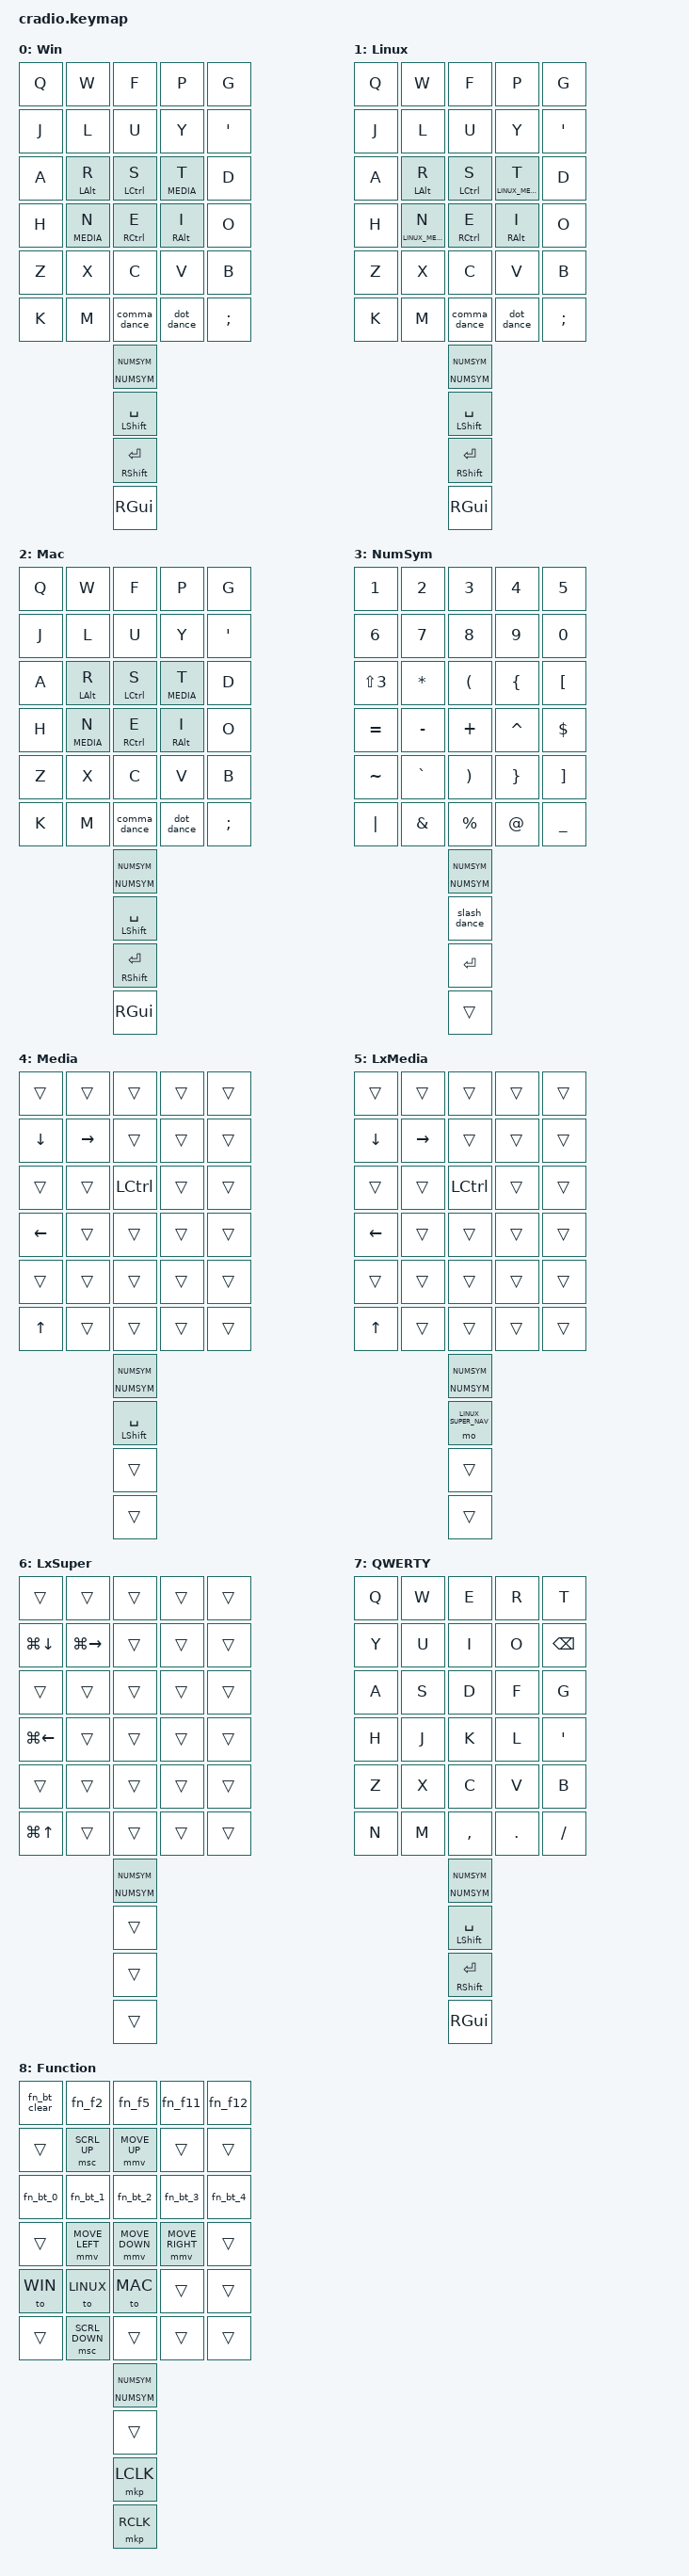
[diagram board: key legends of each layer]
/*
 * Copyright (c) 2020 The ZMK Contributors
 *
 * SPDX-License-Identifier: MIT
 */

#include <behaviors.dtsi>
#include <dt-bindings/zmk/bt.h>
#include <dt-bindings/zmk/keys.h>
#include <dt-bindings/zmk/pointing.h>

#define WIN              0
#define LINUX            1
#define MAC              2
#define NUMSYM           3
#define MEDIA            4
#define LINUX_MEDIA      5
#define LINUX_SUPER_NAV  6
#define QWERTY           7
#define FN               8

/ {
    combos {
        compatible = "zmk,combos";

        /*
         * Ferris Sweep position map:
         *
         *  0  1  2  3  4       5  6  7  8  9
         * 10 11 12 13 14      15 16 17 18 19
         * 20 21 22 23 24      25 26 27 28 29
         *          30 31      32 33
         */

        /*
         * Q + W = Escape
         */
        escape_combo {
            timeout-ms = <35>;
            require-prior-idle-ms = <80>;
            key-positions = <0 1>;
            bindings = <&kp ESC>;
            layers = <WIN LINUX MAC>;
        };

        /*
         * A + R = Tab
         */
        tab_combo {
            timeout-ms = <35>;
            require-prior-idle-ms = <80>;
            key-positions = <10 11>;
            bindings = <&kp TAB>;
            layers = <WIN LINUX MAC>;
        };

        /*
         * FN + Z + slash enters the bootloader.
         *
         * This normally affects the central/left half.
         */
        bootloader_combo {
            timeout-ms = <50>;
            key-positions = <20 29>;
            bindings = <&bootloader>;
            layers = <FN>;
        };

        /*
         * Windows and Linux editing combos:
         *
         * Z + X = Undo
         * X + C = Copy
         * C + V = Paste
         * V + B = Redo
         */
        ctrl_undo {
            timeout-ms = <40>;
            key-positions = <20 21>;
            bindings = <&kp LC(Z)>;
            layers = <WIN LINUX QWERTY>;
        };

        ctrl_copy {
            timeout-ms = <40>;
            key-positions = <21 22>;
            bindings = <&kp LC(C)>;
            layers = <WIN LINUX QWERTY>;
        };

        ctrl_paste {
            timeout-ms = <40>;
            key-positions = <22 23>;
            bindings = <&kp LC(V)>;
            layers = <WIN LINUX QWERTY>;
        };

        ctrl_redo {
            timeout-ms = <40>;
            key-positions = <23 24>;
            bindings = <&kp LC(LS(Z))>;
            layers = <WIN LINUX QWERTY>;
        };

        /*
         * macOS editing combos.
         */
        mac_undo {
            timeout-ms = <40>;
            key-positions = <20 21>;
            bindings = <&kp LG(Z)>;
            layers = <MAC>;
        };

        mac_copy {
            timeout-ms = <40>;
            key-positions = <21 22>;
            bindings = <&kp LG(C)>;
            layers = <MAC>;
        };

        mac_paste {
            timeout-ms = <40>;
            key-positions = <22 23>;
            bindings = <&kp LG(V)>;
            layers = <MAC>;
        };

        mac_redo {
            timeout-ms = <40>;
            key-positions = <23 24>;
            bindings = <&kp LG(LS(Z))>;
            layers = <MAC>;
        };

        /*
         * Y + quote = Backspace
         */
        backspace_combo {
            timeout-ms = <45>;
            key-positions = <8 9>;
            bindings = <&kp BSPC>;
            layers = <WIN LINUX MAC>;
        };

        /*
         * O + quote = Delete
         */
        delete_combo {
            timeout-ms = <45>;
            key-positions = <9 19>;
            bindings = <&kp DEL>;
            layers = <WIN LINUX MAC>;
        };

        /*
         * Both outer thumbs toggle the Function layer.
         *
         * Press once  = FN on
         * Press again = FN off
         */
        fn_toggle_combo {
            timeout-ms = <50>;
            require-prior-idle-ms = <80>;
            key-positions = <30 33>;
            bindings = <&tog FN>;
            layers = <
                WIN
                LINUX
                MAC
                NUMSYM
                MEDIA
                LINUX_MEDIA
                LINUX_SUPER_NAV
                QWERTY
                FN
            >;
        };

        /*
         * Colemak arrow combos:
         *
         * K + M = Up
         * L + U = Right
         * H + N = Left
         * J + L = Down
         */
        arrow_up {
            timeout-ms = <40>;
            key-positions = <25 26>;
            bindings = <&kp UP>;
            layers = <WIN LINUX MAC>;
        };

        arrow_right {
            timeout-ms = <40>;
            key-positions = <6 7>;
            bindings = <&kp RIGHT>;
            layers = <WIN LINUX MAC>;
        };

        arrow_left {
            timeout-ms = <40>;
            key-positions = <15 16>;
            bindings = <&kp LEFT>;
            layers = <WIN LINUX MAC>;
        };

        arrow_down {
            timeout-ms = <40>;
            key-positions = <5 6>;
            bindings = <&kp DOWN>;
            layers = <WIN LINUX MAC>;
        };

    };


    macros {
        /*
         * FN actions which automatically leave the toggled FN layer.
         */
        fn_bt_clear: fn_bt_clear {
            compatible = "zmk,behavior-macro";
            #binding-cells = <0>;
            bindings = <&bt BT_CLR>, <&tog FN>;
        };

        fn_bt_0: fn_bt_0 {
            compatible = "zmk,behavior-macro";
            #binding-cells = <0>;
            bindings = <&bt BT_SEL 0>, <&tog FN>;
        };

        fn_bt_1: fn_bt_1 {
            compatible = "zmk,behavior-macro";
            #binding-cells = <0>;
            bindings = <&bt BT_SEL 1>, <&tog FN>;
        };

        fn_bt_2: fn_bt_2 {
            compatible = "zmk,behavior-macro";
            #binding-cells = <0>;
            bindings = <&bt BT_SEL 2>, <&tog FN>;
        };

        fn_bt_3: fn_bt_3 {
            compatible = "zmk,behavior-macro";
            #binding-cells = <0>;
            bindings = <&bt BT_SEL 3>, <&tog FN>;
        };

        fn_bt_4: fn_bt_4 {
            compatible = "zmk,behavior-macro";
            #binding-cells = <0>;
            bindings = <&bt BT_SEL 4>, <&tog FN>;
        };

        fn_f2: fn_f2 {
            compatible = "zmk,behavior-macro";
            #binding-cells = <0>;
            bindings = <&kp F2>, <&tog FN>;
        };

        fn_f5: fn_f5 {
            compatible = "zmk,behavior-macro";
            #binding-cells = <0>;
            bindings = <&kp F5>, <&tog FN>;
        };

        fn_f11: fn_f11 {
            compatible = "zmk,behavior-macro";
            #binding-cells = <0>;
            bindings = <&kp F11>, <&tog FN>;
        };

        fn_f12: fn_f12 {
            compatible = "zmk,behavior-macro";
            #binding-cells = <0>;
            bindings = <&kp F12>, <&tog FN>;
        };
    };

    behaviors {
        /*
         * Space/Shift thumb behavior.
         */
        thumb_mt: thumb_mod_tap {
            compatible = "zmk,behavior-hold-tap";
            #binding-cells = <2>;

            flavor = "balanced";
            tapping-term-ms = <200>;

            bindings = <&kp>, <&kp>;
        };

        /*
         * Generic layer-tap behavior retained for possible future use.
         *
         * First argument  = layer activated while held
         * Second argument = key sent when tapped
         */
        num_lt: num_layer_tap {
            compatible = "zmk,behavior-hold-tap";
            #binding-cells = <2>;

            flavor = "balanced";
            tapping-term-ms = <200>;

            bindings = <&mo>, <&kp>;
        };


        /*
         * Left outer thumb:
         *
         * Tap  = toggle NumSym
         * Hold = momentary NumSym
         */
        numsym_toggle_hold: numsym_toggle_hold {
            compatible = "zmk,behavior-hold-tap";
            #binding-cells = <2>;

            flavor = "balanced";
            tapping-term-ms = <200>;
            quick-tap-ms = <150>;

            bindings = <&mo>, <&tog>;
        };

        /*
         * Single tap = /
         * Double tap = \
         */
        slash_dance: slash_dance {
            compatible = "zmk,behavior-tap-dance";
            #binding-cells = <0>;

            tapping-term-ms = <175>;
            bindings = <&kp FSLH>, <&kp BSLH>;
        };

        /*
         * Comma:
         * tap        = ,
         * double tap = \
         * hold       = ?
         */
        comma_hold_tap: comma_hold_tap {
            compatible = "zmk,behavior-hold-tap";
            #binding-cells = <2>;

            flavor = "tap-preferred";
            tapping-term-ms = <200>;
            quick-tap-ms = <150>;
            require-prior-idle-ms = <100>;

            bindings = <&kp>, <&kp>;
        };

        comma_dance: comma_dance {
            compatible = "zmk,behavior-tap-dance";
            #binding-cells = <0>;

            tapping-term-ms = <175>;
            bindings = <&comma_hold_tap QMARK COMMA>, <&kp BSLH>;
        };

        /*
         * Period:
         * tap        = .
         * double tap = /
         * hold       = !
         */
        dot_hold_tap: dot_hold_tap {
            compatible = "zmk,behavior-hold-tap";
            #binding-cells = <2>;

            flavor = "tap-preferred";
            tapping-term-ms = <200>;
            quick-tap-ms = <150>;
            require-prior-idle-ms = <100>;

            bindings = <&kp>, <&kp>;
        };

        dot_dance: dot_dance {
            compatible = "zmk,behavior-tap-dance";
            #binding-cells = <0>;

            tapping-term-ms = <175>;
            bindings = <&dot_hold_tap EXCL DOT>, <&kp FSLH>;
        };
    };

    keymap {
        compatible = "zmk,keymap";

        /*
         * Colemak-DH-like Windows layer:
         *
         * Q W F P G    J L U Y '
         * A R S T D    H N E I O
         * Z X C V B    K M , . ;
         *
         * Thumbs:
         * NumSym toggle/hold  Space/Shift    Enter/Shift  GUI
         */
        win_layer {
            display-name = "Win";

            bindings = <
&kp Q         &kp W         &kp F          &kp P           &kp G
&kp J         &kp L         &kp U          &kp Y           &kp SQT

&kp A         &mt LALT R    &mt LCTRL S    &lt MEDIA T     &kp D
&kp H         &lt MEDIA N   &mt RCTRL E    &mt RALT I      &kp O

&kp Z         &kp X         &kp C          &kp V           &kp B
&kp K         &kp M         &comma_dance   &dot_dance      &kp SEMI

                              &numsym_toggle_hold NUMSYM NUMSYM
                              &thumb_mt LSHIFT SPACE
                              &thumb_mt RSHIFT RET
                              &kp RGUI
            >;
        };

        /*
         * Linux layer.
         */
        linux_layer {
            display-name = "Linux";

            bindings = <
&kp Q         &kp W         &kp F          &kp P                 &kp G
&kp J         &kp L         &kp U          &kp Y                 &kp SQT

&kp A         &mt LALT R    &mt LCTRL S    &lt LINUX_MEDIA T    &kp D
&kp H         &lt LINUX_MEDIA N
              &mt RCTRL E   &mt RALT I     &kp O

&kp Z         &kp X         &kp C          &kp V                 &kp B
&kp K         &kp M         &comma_dance   &dot_dance            &kp SEMI

                              &numsym_toggle_hold NUMSYM NUMSYM
                              &thumb_mt LSHIFT SPACE
                              &thumb_mt RSHIFT RET
                              &kp RGUI
            >;
        };

        /*
         * macOS layer.
         */
        mac_layer {
            display-name = "Mac";

            bindings = <
&kp Q         &kp W         &kp F          &kp P           &kp G
&kp J         &kp L         &kp U          &kp Y           &kp SQT

&kp A         &mt LALT R    &mt LCTRL S    &lt MEDIA T     &kp D
&kp H         &lt MEDIA N   &mt RCTRL E    &mt RALT I      &kp O

&kp Z         &kp X         &kp C          &kp V           &kp B
&kp K         &kp M         &comma_dance   &dot_dance      &kp SEMI

                              &numsym_toggle_hold NUMSYM NUMSYM
                              &thumb_mt LSHIFT SPACE
                              &thumb_mt RSHIFT RET
                              &kp RGUI
            >;
        };

        /*
         * NumSym is held with the right inner thumb.
         * High-frequency brackets are therefore grouped on the left hand:
         *
         * 1 2 3 4 5    6 7 8 9 0
         * # * ( { [    = - + ^ $
         * ~ ` ) } ]    | & % @ _
         *
         * Left-hand vertical bracket pairs:
         * ( above ), { above }, [ above ]
         *
         * Base-layer semicolon gives colon when shifted.
         * Base-layer quote gives double quote when shifted.
         */
        numsym_layer {
            display-name = "NumSym";

            bindings = <
&kp N1                  &kp N2          &kp N3
&kp N4                  &kp N5
&kp N6                  &kp N7          &kp N8
&kp N9                  &kp N0

&kp LS(NUMBER_3)        &kp ASTERISK    &kp LPAR
&kp LBRC                &kp LBKT
&kp EQUAL               &kp MINUS       &kp PLUS
&kp CARET               &kp DLLR

&kp TILDE               &kp GRAVE       &kp RIGHT_PARENTHESIS
&kp RBRC                &kp RBKT
&kp PIPE                &kp AMPS        &kp PRCNT
&kp AT                  &kp UNDER

                                      &numsym_toggle_hold NUMSYM NUMSYM
                                      &slash_dance
                                      &kp RET
                                      &trans
            >;
        };

        /*
         * Navigation layer:
         *
         * J = Down
         * L = Right
         * H = Left
         * K = Up
         */
        media_layer {
            display-name = "Media";

            bindings = <
&trans  &trans  &trans     &trans  &trans
&kp DOWN  &kp RIGHT  &trans  &trans  &trans

&trans  &trans  &kp LCTRL  &trans  &trans
&kp LEFT  &trans  &trans    &trans  &trans

&trans  &trans  &trans     &trans  &trans
&kp UP   &trans  &trans    &trans  &trans

                    &numsym_toggle_hold NUMSYM NUMSYM
                    &thumb_mt LSHIFT SPACE
                    &trans
                    &trans
            >;
        };

        /*
         * Linux navigation layer.
         */
        linux_media_layer {
            display-name = "LxMedia";

            bindings = <
&trans  &trans  &trans     &trans  &trans
&kp DOWN  &kp RIGHT  &trans  &trans  &trans

&trans  &trans  &kp LCTRL  &trans  &trans
&kp LEFT  &trans  &trans    &trans  &trans

&trans  &trans  &trans     &trans  &trans
&kp UP   &trans  &trans    &trans  &trans

                    &numsym_toggle_hold NUMSYM NUMSYM
                    &mo LINUX_SUPER_NAV
                    &trans
                    &trans
            >;
        };

        /*
         * Linux Super/Meta navigation layer.
         */
        linux_super_nav_layer {
            display-name = "LxSuper";

            bindings = <
&trans  &trans  &trans  &trans  &trans
&kp LG(DOWN)  &kp LG(RIGHT)  &trans  &trans  &trans

&trans  &trans  &trans  &trans  &trans
&kp LG(LEFT)  &trans  &trans  &trans  &trans

&trans  &trans  &trans  &trans  &trans
&kp LG(UP)  &trans  &trans  &trans  &trans

                    &numsym_toggle_hold NUMSYM NUMSYM
                    &trans
                    &trans
                    &trans
            >;
        };

        /*
         * QWERTY layer with the same thumb arrangement.
         */
        qwerty_layer {
            display-name = "QWERTY";

            bindings = <
&kp Q      &kp W      &kp E      &kp R      &kp T
&kp Y      &kp U      &kp I      &kp O      &kp BSPC

&kp A      &kp S      &kp D      &kp F      &kp G
&kp H      &kp J      &kp K      &kp L      &kp SQT

&kp Z      &kp X      &kp C      &kp V      &kp B
&kp N      &kp M      &kp COMMA  &kp DOT    &kp FSLH

                        &numsym_toggle_hold NUMSYM NUMSYM
                        &thumb_mt LSHIFT SPACE
                        &thumb_mt RSHIFT RET
                        &kp RGUI
            >;
        };

        /*
         * Function and Bluetooth layer.
         */
        function_layer {
            display-name = "Function";

            bindings = <
&fn_bt_clear  &fn_f2       &fn_f5       &fn_f11        &fn_f12
&trans        &msc SCRL_UP &mmv MOVE_UP &trans         &trans

&fn_bt_0      &fn_bt_1     &fn_bt_2     &fn_bt_3       &fn_bt_4
&trans        &mmv MOVE_LEFT &mmv MOVE_DOWN &mmv MOVE_RIGHT &trans

&to WIN       &to LINUX    &to MAC      &trans         &trans
&trans        &msc SCRL_DOWN &trans       &trans         &trans

                            &numsym_toggle_hold NUMSYM NUMSYM
                            &trans
                            &mkp LCLK
                            &mkp RCLK
            >;
        };
    };
};

/*
 * Override ZMK's built-in home-row mod-tap behavior.
 */
&mt {
    flavor = "tap-preferred";
    tapping-term-ms = <175>;
    quick-tap-ms = <150>;
    require-prior-idle-ms = <125>;
};
